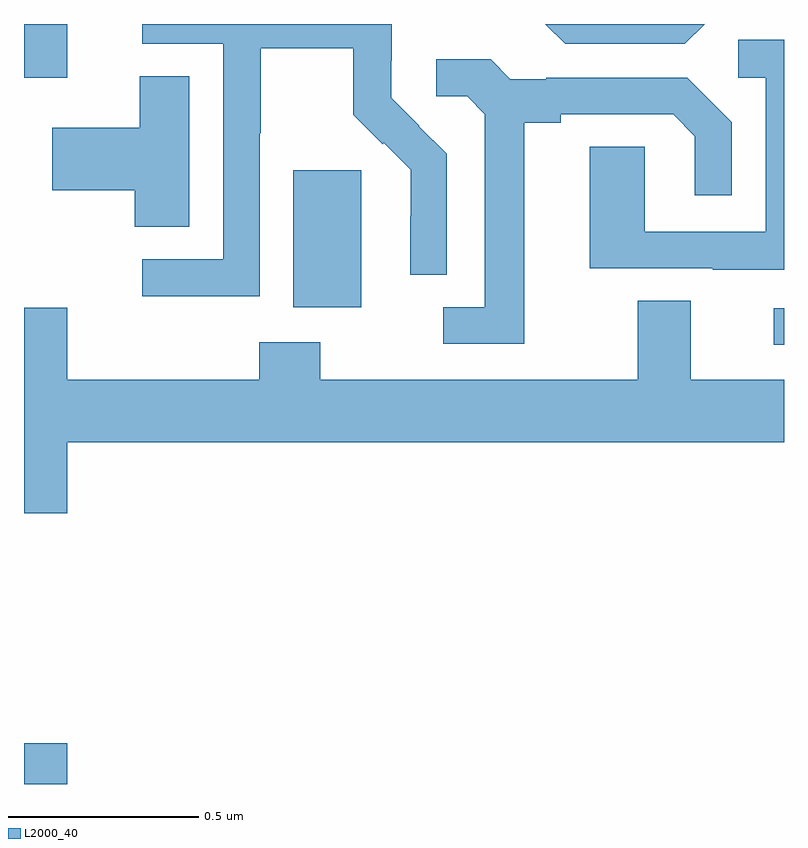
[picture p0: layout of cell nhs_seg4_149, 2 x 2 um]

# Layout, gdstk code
import gdstk
lib = gdstk.Library(unit=1e-6, precision=1e-09)
def R(c, l, rs):  # rectangles x0, y0, x1, y1
    for r in rs: c.add(gdstk.rectangle(r[:2], r[2:], *l))
def P(c, l, *ps):  # polygons
    for p in ps: c.add(gdstk.Polygon(p, *l))
L2000_40 = (2000, 40)

nhs_seg4_149 = lib.new_cell('nhs_seg4_149')
R(nhs_seg4_149, L2000_40, [(112,815.9,112.114,816.007), (113.973,817.056,114,817.152), (112.709,817.154,112.888,817.515), (112,817.758,112.114,817.9)])
P(nhs_seg4_149, L2000_40, [(113.791,817.9),(113.372,817.9),(113.424,817.848),(113.739,817.848)],
  [(112.62,817.612),(112.623,817.612),(112.623,817.836),(112.867,817.836),(112.867,817.661),(112.944,817.584),(112.947,817.587),(113.018,817.517),(113.018,817.394),(113.016,817.394),(113.016,817.24),(113.112,817.24),(113.112,817.558),(113.039,817.631),(113.04,817.632),(112.966,817.706),(112.966,817.803),(112.968,817.803),(112.968,817.9),(112.311,817.9),(112.311,817.848),(112.524,817.848),(112.524,817.281),(112.311,817.281),(112.311,817.183),(112.62,817.183)],
  [(114,817.859),(113.88,817.859),(113.88,817.758),(113.952,817.758),(113.952,817.353),(113.634,817.353),(113.634,817.577),(113.489,817.577),(113.489,817.257),(113.813,817.257),(113.813,817.253),(114,817.253)],
  [(113.317,817.64),(113.413,817.64),(113.413,817.662),(113.708,817.662),(113.765,817.605),(113.765,817.449),(113.862,817.449),(113.862,817.642),(113.746,817.758),(113.374,817.758),(113.374,817.755),(113.28,817.755),(113.228,817.807),(113.085,817.807),(113.085,817.71),(113.166,817.71),(113.213,817.663),(113.213,817.155),(113.103,817.155),(113.103,817.059),(113.317,817.059)],
  [(112.435,817.763),(112.304,817.763),(112.304,817.627),(112.074,817.627),(112.074,817.462),(112.292,817.462),(112.292,817.366),(112.435,817.366)],
  [(112.114,816.8),(114,816.8),(114,816.964),(113.755,816.964),(113.755,817.172),(113.615,817.172),(113.615,816.964),(112.779,816.964),(112.779,817.063),(112.619,817.063),(112.619,816.964),(112.114,816.964),(112.114,817.153),(112,817.153),(112,816.612),(112.114,816.612)])

lib.write_gds('nhs_seg4_149.gds')
